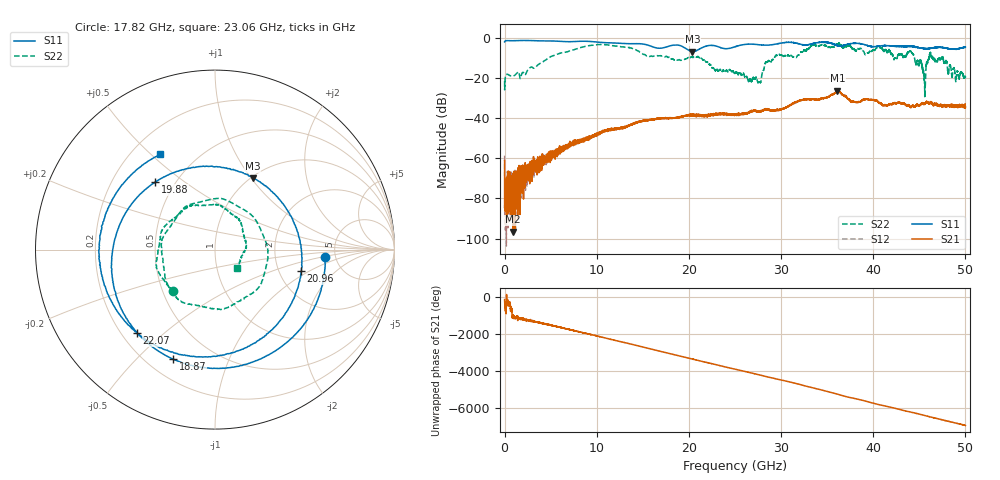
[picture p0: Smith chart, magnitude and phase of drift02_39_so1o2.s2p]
!Created with skrf (http://scikit-rf.org).
# Hz S RI R 50.0
!freq ReS11 ImS11 ReS21 ImS21 ReS12 ImS12 ReS22 ImS22
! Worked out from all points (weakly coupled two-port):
!   10001 points, 300 kHz to 50 GHz, reference 50 ohm
!   highest |S21| = -26.30 dB at 36.12 GHz (marker M1); lowest = -96.6 dB at 915.3 MHz (marker M2)
!   lowest |S11| = -6.9 dB at 20.38 GHz (marker M3), VSWR 2.64, Z = 51 + j50.9 ohm
!   |S11| at or under -10 dB: nowhere
!   |S22| runs from -29.3 to -2.6 dB; largest |S21 - S12| = 0.0052
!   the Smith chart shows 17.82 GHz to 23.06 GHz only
!   S11 on the Smith chart (normalised r, x): 17.82 GHz: 4.14, -0.54; 18.87 GHz: 0.30, -0.65; 19.88 GHz: 0.39, +0.39; 20.96 GHz: 2.65, -0.85; 22.07 GHz: 0.26, -0.41; 23.06 GHz: 0.32, +0.54
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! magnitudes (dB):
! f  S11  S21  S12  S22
! 300 kHz  -2.1  -61.1  -58.7  -21.6
! 260.3 MHz  -1.4  -87.6  -71.5  -18.2
! 915.3 MHz  -1.5  -96.6  -78.1  -19.1
! 8.335 GHz  -1.7  -51.7  -50.9  -4.7
! 16.67 GHz  -5.2  -40.5  -40.4  -9.0
! 17.82 GHz  -4.2  -40.1  -40.1  -9.7
! 18.87 GHz  -3.7  -39.6  -39.6  -11.0
! 19.88 GHz  -6.0  -38.6  -38.6  -9.9
! 20.38 GHz  -6.9  -38.1  -38.4  -9.7
! 20.96 GHz  -6.1  -38.6  -38.5  -9.3
! 22.07 GHz  -3.9  -38.7  -38.8  -12.3
! 23.06 GHz  -4.3  -37.9  -38.2  -15.9
! 25 GHz  -4.5  -38.0  -38.4  -17.6
! 27.62 GHz  -3.5  -36.8  -36.5  -21.7
! 29.54 GHz  -3.1  -35.7  -36.1  -8.8
! 33.34 GHz  -3.0  -30.6  -30.5  -3.8
! 36.12 GHz  -3.9  -26.3  -26.9  -3.3
! 41.67 GHz  -4.0  -33.4  -33.6  -6.1
! 44.13 GHz  -4.1  -34.5  -34.5  -7.1
! 45.5 GHz  -5.4  -33.2  -33.0  -18.2
! 46.27 GHz  -5.2  -32.1  -32.3  -9.3
! 50 GHz  -4.8  -34.7  -34.0  -19.8
